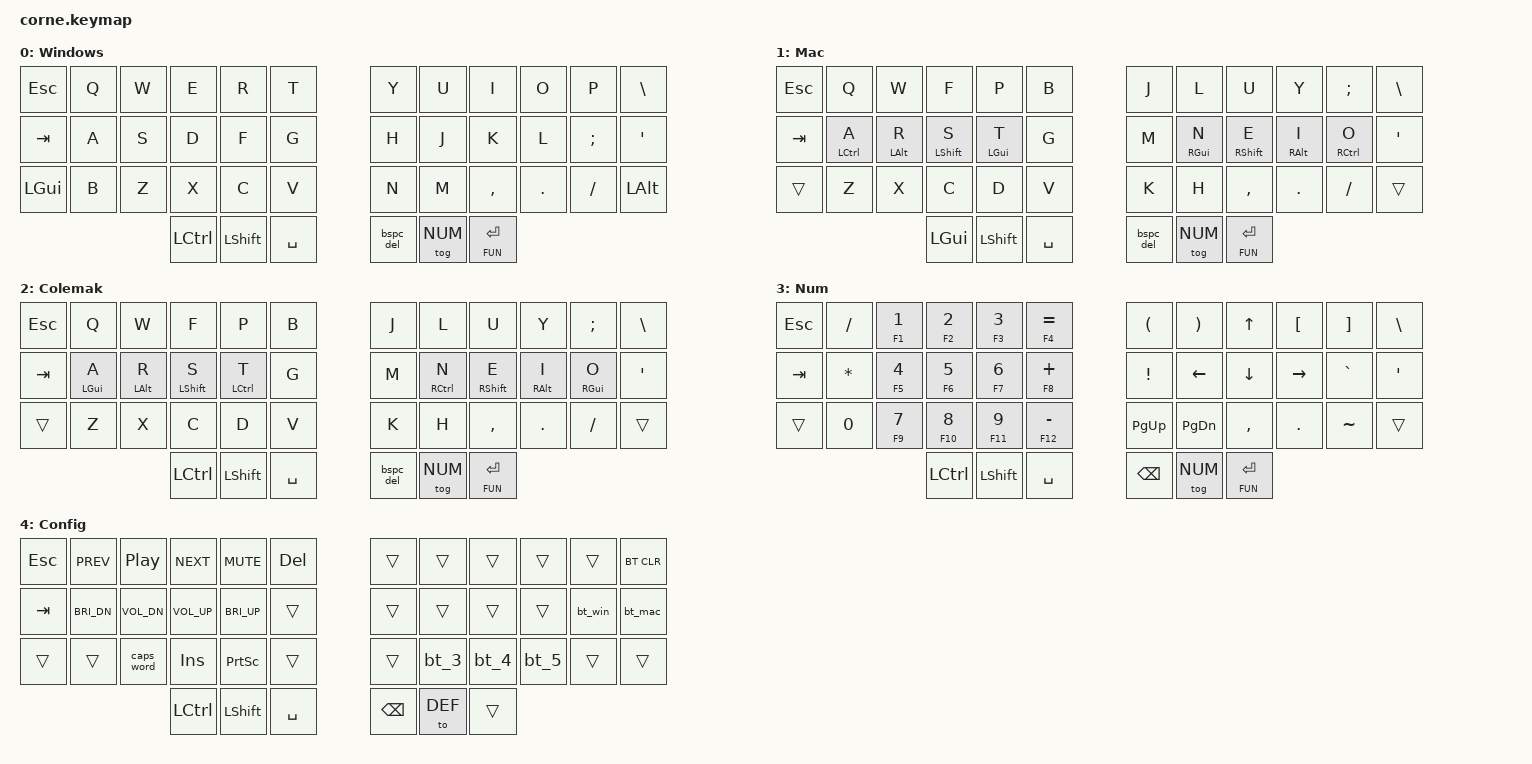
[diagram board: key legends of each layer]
/*
 * Copyright (c) 2020 The ZMK Contributors
 * SPDX-License-Identifier: MIT
 */

#include <behaviors.dtsi>
#include <dt-bindings/zmk/keys.h>
#include <dt-bindings/zmk/bt.h>

// Layer indices.
// IMPORTANT: layer numbers are assigned by the ORDER of the layer nodes under
// keymap{} below, NOT by these #defines. ZMK always boots into layer 0 and does
// NOT persist the active layer across reboots/power-cycles. WIN is layer 0 (the
// first node) so the board comes up in the Windows/QWERTY layout on power-on.
#define WIN 0   // QWERTY output — pair with Windows Colemak-DH OS layout (BT 0). Boot default.
#define MAC 1   // Colemak-DH firmware, Ctrl/GUI swapped on homerow (BT 1, Mac)
#define DEF 2   // Colemak-DH firmware — works on any device without OS layout changes
#define NUM 3   // Numbers, symbols, F1-F10 as hold-taps on number row
#define FUN 4   // BT profile macros, F-keys, navigation, utilities

/*
 * Corne 42-key positions:
 *  0  1  2  3  4  5    6  7  8  9 10 11
 * 12 13 14 15 16 17   18 19 20 21 22 23
 * 24 25 26 27 28 29   30 31 32 33 34 35
 *             36 37 38   39 40 41
 */

/ {
    behaviors {
        // Left-hand homerow mod: hold triggers only on opposite-hand key press
        hml: hml {
            compatible = "zmk,behavior-hold-tap";
            #binding-cells = <2>;
            flavor = "balanced";
            tapping-term-ms = <230>;
            quick-tap-ms = <175>;
            require-prior-idle-ms = <180>;
            bindings = <&kp>, <&kp>;
            hold-trigger-key-positions = <6 7 8 9 10 11 18 19 20 21 22 23 30 31 32 33 34 35 39 40 41>;
            hold-trigger-on-release;
        };

        // Right-hand homerow mod: hold triggers only on opposite-hand key press
        hmr: hmr {
            compatible = "zmk,behavior-hold-tap";
            #binding-cells = <2>;
            flavor = "balanced";
            tapping-term-ms = <230>;
            quick-tap-ms = <175>;
            require-prior-idle-ms = <180>;
            bindings = <&kp>, <&kp>;
            hold-trigger-key-positions = <0 1 2 3 4 5 12 13 14 15 16 17 24 25 26 27 28 29 36 37 38>;
            hold-trigger-on-release;
        };

        bspc_del: bspc_del {
            compatible = "zmk,behavior-mod-morph";
            #binding-cells = <0>;
            bindings = <&kp BSPC>, <&kp DEL>;
            mods = <(MOD_LSFT|MOD_RSFT)>;
        };
    };

    macros {
        // Each macro selects a BT profile AND switches the base layer to match.
        // NOTE: ZMK does NOT persist the active layer across reboots — on every
        // power-on it returns to layer 0 (WIN). These macros only switch the
        // base layer for the current session; re-press the matching macro after
        // a reboot if you need MAC or plain Colemak.
        bt_win: bt_win {
            compatible = "zmk,behavior-macro";
            #binding-cells = <0>;
            bindings
                = <&bt BT_SEL 0>
                , <&to WIN>
                ;
        };
        bt_mac: bt_mac {
            compatible = "zmk,behavior-macro";
            #binding-cells = <0>;
            bindings
                = <&bt BT_SEL 1>
                , <&to MAC>
                ;
        };
        bt_3: bt_3 {
            compatible = "zmk,behavior-macro";
            #binding-cells = <0>;
            bindings
                = <&bt BT_SEL 2>
                , <&to DEF>
                ;
        };
        bt_4: bt_4 {
            compatible = "zmk,behavior-macro";
            #binding-cells = <0>;
            bindings
                = <&bt BT_SEL 3>
                , <&to DEF>
                ;
        };
        bt_5: bt_5 {
            compatible = "zmk,behavior-macro";
            #binding-cells = <0>;
            bindings
                = <&bt BT_SEL 4>
                , <&to DEF>
                ;
        };
    };

    keymap {
        compatible = "zmk,keymap";

        win_layer {
// Windows — raw QWERTY HID codes; pair with US ANSI Colemak-DH OS layout.
// Windows OS remaps QWERTY -> Colemak-DH for typing; games read raw QWERTY directly.
// Switch to this profile with bt_win on the FUN layer. This is also the boot
// default layer (layer 0), so the board comes up here after every power-on.
// NOTE: bottom-left scancodes shifted (B Z X C V) to undo ANSI Colemak-DH's Z
// relocation, landing z back in the corner so the row outputs z x c d v.
// No homerow mods on this layer (gaming-friendly). Mods: Ctrl/Shift on left
// thumbs, LGUI (Win key) on bottom-left outer key, LALT on bottom-right outer key.
// ┌───────┬─────┬─────┬─────┬─────┬─────┐   ┌─────┬─────┬─────┬─────┬─────┬──────┐
// │  ESC  │  Q  │  W  │  E  │  R  │  T  │   │  Y  │  U  │  I  │  O  │  P  │  \   │
// ├───────┼─────┼─────┼─────┼─────┼─────┤   ├─────┼─────┼─────┼─────┼─────┼──────┤
// │  TAB  │  A  │  S  │  D  │  F  │  G  │   │  H  │  J  │  K  │  L  │  ;  │  '   │
// ├───────┼─────┼─────┼─────┼─────┼─────┤   ├─────┼─────┼─────┼─────┼─────┼──────┤
// │ LGUI  │ z   │ x   │ c   │ d   │ v   │   │  N  │  M  │  ,  │  .  │  /  │ LALT │
// └───────┴─────┴─────┼─────┼─────┼─────┤   ├─────┼─────┼─────┴─────┴─────┴──────┘
//   (sends raw B Z X C V; outputs z x c d v after ANSI Colemak-DH)
//                     │LCTRL│LSHFT│ SPC │   │BSPC │togNUM│FUN/RET│
//                     └─────┴─────┴─────┘   └─────┴──────┴───────┘
            display-name = "Windows";
            bindings = <
   &kp ESC      &kp Q        &kp W        &kp E         &kp R         &kp T         &kp Y        &kp U        &kp I        &kp O        &kp P         &kp BSLH
   &kp TAB      &kp A        &kp S        &kp D         &kp F         &kp G         &kp H        &kp J        &kp K        &kp L        &kp SEMI      &kp SQT
   &kp LGUI     &kp B        &kp Z        &kp X         &kp C         &kp V         &kp N        &kp M        &kp COMMA    &kp DOT      &kp FSLH      &kp LALT
                                          &kp LCTRL     &kp LSHFT     &kp SPACE     &bspc_del    &tog NUM     &lt FUN RET
            >;
        };

        mac_layer {
// Mac — same Colemak-DH firmware output as DEF, no OS layout changes needed.
// Ctrl and GUI swapped on homerow: T-hold = Cmd, matches Windows Ctrl muscle memory.
// LGUI on left thumb for Cmd+Space / Cmd+Tab.
// ┌───────┬─────┬─────┬─────┬─────┬─────┐   ┌─────┬─────┬─────┬─────┬─────┬──────┐
// │  ESC  │  Q  │  W  │  F  │  P  │  B  │   │  J  │  L  │  U  │  Y  │  ;  │  \   │
// ├───────┼─────┼─────┼─────┼─────┼─────┤   ├─────┼─────┼─────┼─────┼─────┼──────┤
// │  TAB  │CTL:A│ALT:R│SFT:S│GUI:T│  G  │   │  M  │GUI:N│SFT:E│ALT:I│CTL:O│  '   │
// ├───────┼─────┼─────┼─────┼─────┼─────┤   ├─────┼─────┼─────┼─────┼─────┼──────┤
// │       │  Z  │  X  │  C  │  D  │  V  │   │  K  │  H  │  ,  │  .  │  /  │      │
// └───────┴─────┴─────┼─────┼─────┼─────┤   ├─────┼─────┼─────┴─────┴─────┴──────┘
//                     │LGUI │LSHFT│ SPC │   │BSPC │togNUM│FUN/RET│
//                     └─────┴─────┴─────┘   └─────┴──────┴───────┘
            display-name = "Mac";
            bindings = <
   &kp ESC      &kp Q        &kp W        &kp F         &kp P         &kp B         &kp J        &kp L        &kp U        &kp Y        &kp SEMI      &kp BSLH
   &kp TAB      &hml LCTRL A &hml LALT R  &hml LSHFT S  &hml LGUI T   &kp G         &kp M        &hmr RGUI N  &hmr RSHFT E &hmr RALT I  &hmr RCTRL O  &kp SQT
   &trans       &kp Z        &kp X        &kp C         &kp D         &kp V         &kp K        &kp H        &kp COMMA    &kp DOT      &kp FSLH      &trans
                                          &kp LGUI      &kp LSHFT     &kp SPACE     &bspc_del    &tog NUM     &lt FUN RET
            >;
        };

        default_layer {
// Colemak-DH — ZMK sends Colemak-DH HID codes directly.
// Works on any device without OS layout changes (Mac, phones, new devices).
// ┌───────┬─────┬─────┬─────┬─────┬─────┐   ┌─────┬─────┬─────┬─────┬─────┬──────┐
// │  ESC  │  Q  │  W  │  F  │  P  │  B  │   │  J  │  L  │  U  │  Y  │  ;  │  \   │
// ├───────┼─────┼─────┼─────┼─────┼─────┤   ├─────┼─────┼─────┼─────┼─────┼──────┤
// │  TAB  │GUI:A│ALT:R│SFT:S│CTL:T│  G  │   │  M  │CTL:N│SFT:E│ALT:I│GUI:O│  '   │
// ├───────┼─────┼─────┼─────┼─────┼─────┤   ├─────┼─────┼─────┼─────┼─────┼──────┤
// │       │  Z  │  X  │  C  │  D  │  V  │   │  K  │  H  │  ,  │  .  │  /  │      │
// └───────┴─────┴─────┼─────┼─────┼─────┤   ├─────┼─────┼─────┴─────┴─────┴──────┘
//                     │LCTRL│LSHFT│ SPC │   │BSPC │togNUM│FUN/RET│
//                     └─────┴─────┴─────┘   └─────┴──────┴───────┘
            display-name = "Colemak";
            bindings = <
   &kp ESC      &kp Q        &kp W        &kp F         &kp P         &kp B         &kp J        &kp L        &kp U        &kp Y        &kp SEMI      &kp BSLH
   &kp TAB      &hml LGUI A  &hml LALT R  &hml LSHFT S  &hml LCTRL T  &kp G         &kp M        &hmr RCTRL N &hmr RSHFT E &hmr RALT I  &hmr RGUI O   &kp SQT
   &trans       &kp Z        &kp X        &kp C         &kp D         &kp V         &kp K        &kp H        &kp COMMA    &kp DOT      &kp FSLH      &trans
                                          &kp LCTRL     &kp LSHFT     &kp SPACE     &bspc_del    &tog NUM     &lt FUN RET
            >;
        };

        num_layer {
// Numpad on left: 4x3 grid (cols 1-4) with F1-F12 as hold in reading order.
// 1,2,3,= → F1-F4 | 4,5,6,+ → F5-F8 | 7,8,9,- → F9-F12 | col5 = /,*,0
// Right side restores arrows, brackets, and navigation from original layout.
// togNUM on right thumb to exit; hold CFG/RET for config layer.
// ┌───────┬──────┬──────┬──────┬──────┬──────┐   ┌──────┬──────┬──────┬──────┬──────┬──────┐
// │  ESC  │  /   │ 1/F1 │ 2/F2 │ 3/F3 │ =/F4 │   │  (   │  )   │  ↑   │  [   │  ]   │  \   │
// ├───────┼──────┼──────┼──────┼──────┼──────┤   ├──────┼──────┼──────┼──────┼──────┼──────┤
// │  TAB  │  *   │ 4/F5 │ 5/F6 │ 6/F7 │ +/F8 │   │  !   │  ←   │  ↓   │  →   │  `   │  '   │
// ├───────┼──────┼──────┼──────┼──────┼──────┤   ├──────┼──────┼──────┼──────┼──────┼──────┤
// │       │  0   │ 7/F9 │ 8/F10│ 9/F11│ -/F12│   │ PgUp │ PgDn │  ,   │  .   │  ~   │      │
// └───────┴──────┴──────┼──────┼──────┼──────┤   ├──────┼──────┼──────┴──────┴──────┴──────┘
//                       │LCTRL │LSHFT │ SPC │  │ BSPC │togNUM│CFG/RET│
//                       └──────┴──────┴──────┘   └──────┴──────┴───────┘
            display-name = "Num";
            bindings = <
   &kp ESC      &kp FSLH     &mt F1 N1    &mt F2 N2     &mt F3 N3     &mt F4 EQUAL  &kp LPAR     &kp RPAR     &kp UP       &kp LBKT     &kp RBKT      &kp BSLH
   &kp TAB      &kp ASTRK    &mt F5 N4    &mt F6 N5     &mt F7 N6     &mt F8 PLUS   &kp EXCL     &kp LEFT     &kp DOWN     &kp RIGHT    &kp GRAVE     &kp SQT
   &trans       &kp N0       &mt F9 N7    &mt F10 N8    &mt F11 N9    &mt F12 MINUS &kp PG_UP    &kp PG_DN    &kp COMMA    &kp DOT      &kp TILDE     &trans
                                          &kp LCTRL      &kp LSHFT     &kp SPACE     &kp BSPC     &tog NUM     &lt FUN RET
            >;
        };

        fun_layer {
// Left: media controls (row 1) + brightness/volume ramp (row 2) + utilities (row 3).
// Right: BT profile management only. bt_win/bt_mac also switch base layer.
// ┌───────┬──────┬──────┬──────┬──────┬─────┐   ┌──────┬──────┬──────┬──────┬──────┬────────┐
// │  ESC  │ |<<  │ >/|| │  >>| │ MUTE │ DEL │   │      │      │      │      │      │ BTCLR  │
// ├───────┼──────┼──────┼──────┼──────┼─────┤   ├──────┼──────┼──────┼──────┼──────┼────────┤
// │  TAB  │ BRI- │ VOL- │ VOL+ │ BRI+ │     │   │      │      │      │      │bt_win│ bt_mac │
// ├───────┼──────┼──────┼──────┼──────┼─────┤   ├──────┼──────┼──────┼──────┼──────┼────────┤
// │       │      │ CAPS │  INS │PrtSc │     │   │      │ bt_3 │ bt_4 │ bt_5 │      │        │
// └───────┴──────┴──────┼──────┼──────┼─────┤   ├──────┼──────┼──────┴──────┴──────┴────────┘
//                       │LCTRL │LSHFT │ SPC │   │ BSPC │toDEF │
//                       └──────┴──────┴─────┘   └──────┴──────┘
            display-name = "Config";
            bindings = <
   &kp ESC      &kp C_PREV   &kp C_PP     &kp C_NEXT    &kp C_MUTE    &kp DEL       &trans       &trans       &trans       &trans       &trans        &bt BT_CLR
   &kp TAB      &kp C_BRI_DN &kp C_VOL_DN &kp C_VOL_UP  &kp C_BRI_UP  &trans        &trans       &trans       &trans       &trans       &bt_win       &bt_mac
   &trans       &trans       &caps_word   &kp INS       &kp PSCRN     &trans        &trans       &bt_3        &bt_4        &bt_5        &trans        &trans
                                          &kp LCTRL     &kp LSHFT     &kp SPACE     &kp BSPC     &to DEF      &trans
            >;
        };
    };
};
